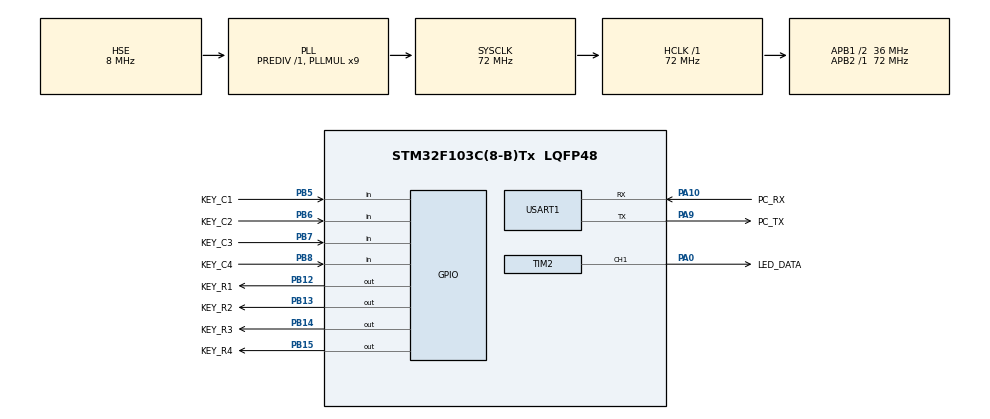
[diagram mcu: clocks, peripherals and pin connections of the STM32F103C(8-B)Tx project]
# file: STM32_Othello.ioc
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Dma.Request0=TIM2_CH1
Dma.TIM2_CH1.0.Direction=DMA_MEMORY_TO_PERIPH
Dma.TIM2_CH1.0.Instance=DMA1_Channel5
Dma.TIM2_CH1.0.MemDataAlignment=DMA_MDATAALIGN_HALFWORD
Dma.TIM2_CH1.0.MemInc=DMA_MINC_ENABLE
Dma.TIM2_CH1.0.Mode=DMA_NORMAL
Dma.TIM2_CH1.0.PeriphDataAlignment=DMA_PDATAALIGN_HALFWORD
Dma.TIM2_CH1.0.PeriphInc=DMA_PINC_DISABLE
Dma.TIM2_CH1.0.Priority=DMA_PRIORITY_LOW
Mcu.Family=STM32F1
Mcu.Name=STM32F103C(8-B)Tx
Mcu.Package=LQFP48
NVIC.DMA1_Channel5_IRQn=true\:2\:0\:true\:false\:true\:false\:true\:true
NVIC.PriorityGroup=NVIC_PRIORITYGROUP_4
NVIC.TIM2_IRQn=true\:2\:0\:true\:false\:true\:true\:true\:true
NVIC.USART1_IRQn=true\:1\:0\:true\:false\:true\:true\:true\:true
PA0-WKUP.GPIO_Label=LED_DATA
PA0-WKUP.GPIO_Speed=GPIO_SPEED_FREQ_HIGH
PA0-WKUP.Signal=S_TIM2_CH1_ETR
PA10.GPIO_Label=PC_RX
PA10.Mode=Asynchronous
PA10.Signal=USART1_RX
PA13.Mode=Serial_Wire
PA13.Signal=SYS_JTMS-SWDIO
PA14.Mode=Serial_Wire
PA14.Signal=SYS_JTCK-SWCLK
PA9.GPIO_Label=PC_TX
PA9.Mode=Asynchronous
PA9.Signal=USART1_TX
PB12.GPIO_Label=KEY_R1
PB12.GPIO_PuPd=GPIO_NOPULL
PB12.PinState=GPIO_PIN_SET
PB12.Signal=GPIO_Output
PB13.GPIO_Label=KEY_R2
PB13.GPIO_PuPd=GPIO_NOPULL
PB13.PinState=GPIO_PIN_SET
PB13.Signal=GPIO_Output
PB14.GPIO_Label=KEY_R3
PB14.GPIO_PuPd=GPIO_NOPULL
PB14.PinState=GPIO_PIN_SET
PB14.Signal=GPIO_Output
PB15.GPIO_Label=KEY_R4
PB15.GPIO_PuPd=GPIO_NOPULL
PB15.PinState=GPIO_PIN_SET
PB15.Signal=GPIO_Output
PB5.GPIO_Label=KEY_C1
PB5.GPIO_PuPd=GPIO_PULLUP
PB5.Signal=GPIO_Input
PB6.GPIO_Label=KEY_C2
PB6.GPIO_PuPd=GPIO_PULLUP
PB6.Signal=GPIO_Input
PB7.GPIO_Label=KEY_C3
PB7.GPIO_PuPd=GPIO_PULLUP
PB7.Signal=GPIO_Input
PB8.GPIO_Label=KEY_C4
PB8.GPIO_PuPd=GPIO_PULLUP
PB8.Signal=GPIO_Input
PD0-OSC_IN.Mode=HSE-External-Oscillator
PD0-OSC_IN.Signal=RCC_OSC_IN
PD1-OSC_OUT.Mode=HSE-External-Oscillator
PD1-OSC_OUT.Signal=RCC_OSC_OUT
ProjectManager.HeapSize=0x200
ProjectManager.StackSize=0x400
ProjectManager.TargetToolchain=STM32CubeIDE
RCC.AHBFreq_Value=72000000
RCC.APB1CLKDivider=RCC_HCLK_DIV2
RCC.APB1Freq_Value=36000000
RCC.APB1TimFreq_Value=72000000
RCC.APB2Freq_Value=72000000
RCC.APB2TimFreq_Value=72000000
RCC.HCLKFreq_Value=72000000
RCC.PLLMUL=RCC_PLL_MUL9
RCC.PLLSourceVirtual=RCC_PLLSOURCE_HSE
RCC.SYSCLKFreq_VALUE=72000000
RCC.SYSCLKSource=RCC_SYSCLKSOURCE_PLLCLK
RCC.USBFreq_Value=72000000
SH.S_TIM2_CH1_ETR.0=TIM2_CH1,PWM Generation1 CH1
TIM2.Channel-PWM\ Generation1\ CH1=TIM_CHANNEL_1
TIM2.Period=90-1
USART1.VirtualMode=VM_ASYNC
VP_TIM2_VS_ClockSourceINT.Mode=Internal
board=custom

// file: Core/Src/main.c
/* USER CODE BEGIN Header */
/**
  ******************************************************************************
  * @file           : main.c
  * @brief          : Main program body
  ******************************************************************************
  * @attention
  *
  * Copyright (c) 2025 STMicroelectronics.
  * All rights reserved.
  *
  * This software is licensed under terms that can be found in the LICENSE file
  * in the root directory of this software component.
  * If no LICENSE file comes with this software, it is provided AS-IS.
  *
  ******************************************************************************
  */
/* USER CODE END Header */
#include "main.h"

/* USER CODE BEGIN Includes */
#include <string.h>
#include "ws2812b_driver.h"
#include "keypad_driver.h"
#include "keypad_mapping.h"
#include "uart_protocol.h"
#include "othello_engine.h"
#include "game_control.h"
#include "challenge_mode.h"
#include "led_text.h"
#include "debug_print.h"
/* USER CODE END Includes */

TIM_HandleTypeDef htim2;
DMA_HandleTypeDef hdma_tim2_ch1;

UART_HandleTypeDef huart1;

/* USER CODE BEGIN PV */
/* Game state variables */
static GameState_t game_state;
static GameStats_t game_stats;
static bool game_initialized = false;
static uint32_t game_session_id = 0;  // Game session ID, incremented on each new game

/* Cursor control variables */
static uint8_t cursor_row = 3;          // Cursor row position (initial: board center)
static uint8_t cursor_col = 3;          // Cursor column position (initial: board center)
static bool cursor_visible = true;      // Cursor visibility (for blinking)
static uint32_t cursor_blink_timer = 0; // Cursor blink timer

/* Game mode variables */
static Game_Mode_t current_game_mode = GAME_MODE_NORMAL;  // Current game mode
static bool is_displaying_result = false;  // Flag: displaying game result (prevent state updates)

/* Cheat mode overlay state (NEW) */
bool is_cheat_active = false;                              // Cheat mode overlay flag
static PieceType_t cheat_selected_color = PIECE_BLACK;     // Currently selected cheat color

/* Game end handling flag (set in interrupt context, processed in main loop) */
static volatile bool game_end_pending = false;
/* USER CODE END PV */

void SystemClock_Config(void);
static void MX_GPIO_Init(void);
static void MX_DMA_Init(void);
static void MX_TIM2_Init(void);
static void MX_USART1_UART_Init(void);
/* USER CODE BEGIN PFP */
static void Convert_GameState_to_Protocol(const GameState_t* game_state, Game_State_Data_t* protocol_state);
static Protocol_Status_t Send_GameState_Via_Protocol(const GameState_t* game_state);
void App_UpdateCursor(void);
void App_PrintGameHistory(void);
/* USER CODE END PFP */

/* USER CODE BEGIN 0 */
/**
 * @brief Convert GameState_t to Game_State_Data_t for protocol transmission
 * @param game_state Source game state
 * @param protocol_state Destination protocol state
 */
static void Convert_GameState_to_Protocol(const GameState_t* game_state, Game_State_Data_t* protocol_state)
{
  if (!game_state || !protocol_state) {
    return;
  }

  // Copy board state (convert from PieceType_t to uint8_t)
  for (int row = 0; row < 8; row++) {
    for (int col = 0; col < 8; col++) {
      protocol_state->board[row][col] = (uint8_t)game_state->board[row][col];
    }
  }

  protocol_state->current_player = (uint8_t)game_state->current_player;
  protocol_state->black_count = game_state->black_count;
  protocol_state->white_count = game_state->white_count;
  protocol_state->game_over = (game_state->status != GAME_STATUS_PLAYING) ? 1 : 0;
  protocol_state->move_count = game_state->move_count;
}

/**
 * @brief Send game state via protocol (wrapper function)
 * @param game_state Source game state
 * @return Protocol_Status_t Protocol status
 */
static Protocol_Status_t Send_GameState_Via_Protocol(const GameState_t* game_state)
{
  Game_State_Data_t protocol_state;
  Convert_GameState_to_Protocol(game_state, &protocol_state);
  return Protocol_SendGameState(&protocol_state);
}
/* USER CODE END 0 */

int main(void)
{

  /* MCU Configuration--------------------------------------------------------*/

  /* Reset of all peripherals, Initializes the Flash interface and the Systick. */
  HAL_Init();

  /* Configure the system clock */
  SystemClock_Config();

  /* Initialize all configured peripherals */
  MX_GPIO_Init();
  MX_DMA_Init();
  MX_TIM2_Init();
  MX_USART1_UART_Init();
  /* USER CODE BEGIN 2 */
  /* IMPORTANT: Debug output must be AFTER USART1 initialization */
  HAL_Delay(100);  // Small delay to allow UART to stabilize

  DEBUG_PRINT_BANNER();
  DEBUG_INFO("[INIT] HAL Initialized\r\n");
  DEBUG_INFO("[INIT] System Clock Configured\r\n");
  DEBUG_INFO("[INIT] GPIO Initialized\r\n");
  DEBUG_INFO("[INIT] DMA Initialized\r\n");
  DEBUG_INFO("[INIT] TIM2 Initialized\r\n");
  DEBUG_INFO("[INIT] USART1 Initialized\r\n");

  /* Enable DWT counter for microsecond delays */
  CoreDebug->DEMCR |= CoreDebug_DEMCR_TRCENA_Msk;
  DWT->CTRL |= DWT_CTRL_CYCCNTENA_Msk;

  /* Initialize WS2812B driver */
  if (WS2812B_Init() != WS2812B_OK) {
    DEBUG_ERROR("[INIT] WS2812B Driver...FAILED\r\n");
    Error_Handler(); /* WS2812B initialization failed */
  }
  DEBUG_INFO("[INIT] WS2812B Driver...OK\r\n");

  /* Initialize Keypad driver */
  Keypad_Status_t keypad_status = Keypad_Init();
  if (keypad_status != KEYPAD_OK) {
    DEBUG_ERROR("[INIT] Keypad Driver...FAILED (status=%d)\r\n", keypad_status);
    Error_Handler(); /* Keypad initialization failed */
  }
  DEBUG_INFO("[INIT] Keypad Driver...OK\r\n");

  /* Test keypad quick check (disabled when DEBUG is off) */
  #if ENABLE_DEBUG
  bool any_key = Keypad_Quick_Check();
  DEBUG_INFO("[INIT] Keypad Quick Check: %s\r\n", any_key ? "Keys detected" : "No keys");
  #else
  (void)Keypad_Quick_Check();  /* Run check but ignore result when debug disabled */
  #endif

  /* Initialize UART Protocol (USART1 for PC communication) */
  if (Protocol_Init() != PROTOCOL_OK) {
    /* Protocol initialization failed - indicate with LED */
    /* Flash all LEDs red as error indicator */
    for (uint8_t i = 0; i < 8; i++) {
      for (uint8_t j = 0; j < 8; j++) {
        WS2812B_SetPixel(i, j, WS2812B_COLOR_RED);
      }
    }
    WS2812B_Update();
    Error_Handler();
  }

  /* Protocol initialized successfully - send initial heartbeat */
  HAL_Delay(100);  /* Wait for UART to stabilize */
  Protocol_SendHeartbeat();

  /* Register keypad event callback */
  Keypad_Register_Callback(Keypad_Key_Event_Handler);

  /* Register protocol command callback */
  Protocol_RegisterCallback(Protocol_Command_Handler);

  /* Initialize game engine */
  if (Othello_Init() != OTHELLO_OK) {
    DEBUG_ERROR("[INIT] Othello Engine...FAILED\r\n");
    Error_Handler(); /* Game engine initialization failed */
  }
  DEBUG_INFO("[INIT] Othello Engine...OK\r\n");

  /* Application-specific initialization */
  App_Init();
  DEBUG_INFO("[INIT] Application...OK\r\n");

  DEBUG_INFO("[BOOT] System Ready!\r\n");
  /* USER CODE END 2 */

  /* Infinite loop */
  while (1)
  {

    /* USER CODE BEGIN 3 */
    /* Main application loop */
    App_Main_Loop();

    /* Keypad scanning (if not using interrupt-driven mode) */
    Keypad_Scan_Task();

    /* Update cursor blinking */
    App_UpdateCursor();

    /* Protocol maintenance tasks (heartbeat & timeout handling) */
    Protocol_Task();

    /* Small delay to prevent excessive CPU usage */
    HAL_Delay(1);
  }
  /* USER CODE END 3 */
}

void SystemClock_Config(void)
{
  RCC_OscInitTypeDef RCC_OscInitStruct = {0};
  RCC_ClkInitTypeDef RCC_ClkInitStruct = {0};

  /** Initializes the RCC Oscillators according to the specified parameters
  * in the RCC_OscInitTypeDef structure.
  */
  RCC_OscInitStruct.OscillatorType = RCC_OSCILLATORTYPE_HSE;
  RCC_OscInitStruct.HSEState = RCC_HSE_ON;
  RCC_OscInitStruct.HSEPredivValue = RCC_HSE_PREDIV_DIV1;
  RCC_OscInitStruct.HSIState = RCC_HSI_ON;
  RCC_OscInitStruct.PLL.PLLState = RCC_PLL_ON;
  RCC_OscInitStruct.PLL.PLLSource = RCC_PLLSOURCE_HSE;
  RCC_OscInitStruct.PLL.PLLMUL = RCC_PLL_MUL9;
  if (HAL_RCC_OscConfig(&RCC_OscInitStruct) != HAL_OK)
  {
    Error_Handler();
  }

  /** Initializes the CPU, AHB and APB buses clocks
  */
  RCC_ClkInitStruct.ClockType = RCC_CLOCKTYPE_HCLK|RCC_CLOCKTYPE_SYSCLK
                              |RCC_CLOCKTYPE_PCLK1|RCC_CLOCKTYPE_PCLK2;
  RCC_ClkInitStruct.SYSCLKSource = RCC_SYSCLKSOURCE_PLLCLK;
  RCC_ClkInitStruct.AHBCLKDivider = RCC_SYSCLK_DIV1;
  RCC_ClkInitStruct.APB1CLKDivider = RCC_HCLK_DIV2;
  RCC_ClkInitStruct.APB2CLKDivider = RCC_HCLK_DIV1;

  if (HAL_RCC_ClockConfig(&RCC_ClkInitStruct, FLASH_LATENCY_2) != HAL_OK)
  {
    Error_Handler();
  }
}

static void MX_TIM2_Init(void)
{

  TIM_ClockConfigTypeDef sClockSourceConfig = {0};
  TIM_MasterConfigTypeDef sMasterConfig = {0};
  TIM_OC_InitTypeDef sConfigOC = {0};

  htim2.Instance = TIM2;
  htim2.Init.Prescaler = 0;
  htim2.Init.CounterMode = TIM_COUNTERMODE_UP;
  htim2.Init.Period = 90-1;
  htim2.Init.ClockDivision = TIM_CLOCKDIVISION_DIV1;
  htim2.Init.AutoReloadPreload = TIM_AUTORELOAD_PRELOAD_DISABLE;
  if (HAL_TIM_Base_Init(&htim2) != HAL_OK)
  {
    Error_Handler();
  }
  sClockSourceConfig.ClockSource = TIM_CLOCKSOURCE_INTERNAL;
  if (HAL_TIM_ConfigClockSource(&htim2, &sClockSourceConfig) != HAL_OK)
  {
    Error_Handler();
  }
  if (HAL_TIM_PWM_Init(&htim2) != HAL_OK)
  {
    Error_Handler();
  }
  sMasterConfig.MasterOutputTrigger = TIM_TRGO_RESET;
  sMasterConfig.MasterSlaveMode = TIM_MASTERSLAVEMODE_DISABLE;
  if (HAL_TIMEx_MasterConfigSynchronization(&htim2, &sMasterConfig) != HAL_OK)
  {
    Error_Handler();
  }
  sConfigOC.OCMode = TIM_OCMODE_PWM1;
  sConfigOC.Pulse = 0;
  sConfigOC.OCPolarity = TIM_OCPOLARITY_HIGH;
  sConfigOC.OCFastMode = TIM_OCFAST_DISABLE;
  if (HAL_TIM_PWM_ConfigChannel(&htim2, &sConfigOC, TIM_CHANNEL_1) != HAL_OK)
  {
    Error_Handler();
  }
  HAL_TIM_MspPostInit(&htim2);

}

static void MX_USART1_UART_Init(void)
{

  huart1.Instance = USART1;
  huart1.Init.BaudRate = 115200;
  huart1.Init.WordLength = UART_WORDLENGTH_8B;
  huart1.Init.StopBits = UART_STOPBITS_1;
  huart1.Init.Parity = UART_PARITY_NONE;
  huart1.Init.Mode = UART_MODE_TX_RX;
  huart1.Init.HwFlowCtl = UART_HWCONTROL_NONE;
  huart1.Init.OverSampling = UART_OVERSAMPLING_16;
  if (HAL_UART_Init(&huart1) != HAL_OK)
  {
    Error_Handler();
  }

}

static void MX_DMA_Init(void)
{

  /* DMA controller clock enable */
  __HAL_RCC_DMA1_CLK_ENABLE();

  /* DMA interrupt init */
  /* DMA1_Channel5_IRQn interrupt configuration */
  HAL_NVIC_SetPriority(DMA1_Channel5_IRQn, 2, 0);
  HAL_NVIC_EnableIRQ(DMA1_Channel5_IRQn);

}

static void MX_GPIO_Init(void)
{
  GPIO_InitTypeDef GPIO_InitStruct = {0};

  /* GPIO Ports Clock Enable */
  __HAL_RCC_GPIOD_CLK_ENABLE();
  __HAL_RCC_GPIOA_CLK_ENABLE();
  __HAL_RCC_GPIOB_CLK_ENABLE();

  /*Configure GPIO pin Output Level */
  HAL_GPIO_WritePin(GPIOB, KEY_R1_Pin|KEY_R2_Pin|KEY_R3_Pin|KEY_R4_Pin, GPIO_PIN_SET);

  /*Configure GPIO pins : KEY_R1_Pin KEY_R2_Pin KEY_R3_Pin KEY_R4_Pin */
  GPIO_InitStruct.Pin = KEY_R1_Pin|KEY_R2_Pin|KEY_R3_Pin|KEY_R4_Pin;
  GPIO_InitStruct.Mode = GPIO_MODE_OUTPUT_PP;
  GPIO_InitStruct.Pull = GPIO_NOPULL;
  GPIO_InitStruct.Speed = GPIO_SPEED_FREQ_LOW;
  HAL_GPIO_Init(GPIOB, &GPIO_InitStruct);

  /*Configure GPIO pins : KEY_C1_Pin KEY_C2_Pin KEY_C3_Pin KEY_C4_Pin */
  GPIO_InitStruct.Pin = KEY_C1_Pin|KEY_C2_Pin|KEY_C3_Pin|KEY_C4_Pin;
  GPIO_InitStruct.Mode = GPIO_MODE_INPUT;
  GPIO_InitStruct.Pull = GPIO_PULLUP;
  HAL_GPIO_Init(GPIOB, &GPIO_InitStruct);

}

/* USER CODE BEGIN 4 */
/**
 * @brief DMA transfer complete callback for WS2812B
 * @param hdma: DMA handle
 * @retval None
 */
void HAL_TIM_PWM_PulseFinishedCallback(TIM_HandleTypeDef *htim)
{
  /* Check if this is TIM2 channel 1 */
  if (htim->Instance == TIM2) {
    WS2812B_DMA_Complete_Callback(&hdma_tim2_ch1);
  }
}

/**
 * @brief WS2812B DMA Complete IRQ Handler (called from main.h)
 * @retval None
 */
void WS2812B_DMA_Complete_IRQ_Handler(void)
{
  WS2812B_DMA_Complete_Callback(&hdma_tim2_ch1);
}

/**
 * @brief Application initialization function
 * @retval None
 */
void App_Init(void)
{
  /* Initialize game statistics */
  memset(&game_stats, 0, sizeof(GameStats_t));

  /* Initialize game control module */
  if (Game_Control_Init() != GAME_CTRL_OK) {
    DEBUG_ERROR("[INIT] Game Control...FAILED\r\n");
    Error_Handler();
  }
  DEBUG_INFO("[INIT] Game Control...OK\r\n");

  /* Initialize challenge mode module */
  if (Challenge_Init() != CHALLENGE_OK) {
    DEBUG_ERROR("[INIT] Challenge Mode...FAILED\r\n");
    Error_Handler();
  }
  DEBUG_INFO("[INIT] Challenge Mode...OK\r\n");

  /* Initialize LED text display module */
  if (LED_Text_Init() != LED_TEXT_OK) {
    DEBUG_ERROR("[INIT] LED Text...FAILED\r\n");
    Error_Handler();
  }
  DEBUG_INFO("[INIT] LED Text...OK\r\n");

  /* Start new game */
  if (Othello_NewGame(&game_state) == OTHELLO_OK) {
    game_initialized = true;
    game_session_id++;  // Increment session ID for new game
  }

  /* Initialize LED display */
  WS2812B_Clear();

  /* Display initial game board */
  App_DisplayGameBoard();
}

/**
 * @brief Main application loop function
 * @retval None
 */
void App_Main_Loop(void)
{
  /* === Priority 1: Process pending game end (set from interrupt context) === */
  if (game_end_pending) {
    game_end_pending = false;  // Clear flag
    DEBUG_INFO("[APP_LOOP] Processing pending game end from interrupt...\r\n");
    App_HandleGameOver();  // Safe to call in main loop context
    DEBUG_INFO("[APP_LOOP] Game end processing completed\r\n");
    return;  // Process only game end in this iteration
  }

  /* Process keypad events */
  Key_t key_event = Keypad_GetKey();
  if (key_event.state != KEY_RELEASED) {
    /* Key event occurred, process it */
    App_ProcessKeyEvent(&key_event);
  }

  /* Update game board display */
  App_UpdateGameDisplay();

  /* Check for game over conditions (local game end) */
  if (game_initialized && Othello_IsGameOver(&game_state)) {
    App_HandleGameOver();
  }
}

/**
 * @brief Update cursor display with blinking effect
 * @retval None
 */
void App_UpdateCursor(void)
{
  if (!game_initialized) {
    return;
  }

  uint32_t current_time = HAL_GetTick();

  // Toggle cursor visibility every 500ms
  if (current_time - cursor_blink_timer >= 500) {
    cursor_blink_timer = current_time;
    cursor_visible = !cursor_visible;

    // Redraw board to update cursor
    App_DisplayGameBoard();
  }
}

/**
 * @brief Display game board on LED matrix
 * @retval None
 */
void App_DisplayGameBoard(void)
{
  if (!game_initialized) {
    return;
  }

  WS2812B_Clear();

  /* Display game pieces on LED matrix */
  for (uint8_t row = 0; row < 8; row++) {
    for (uint8_t col = 0; col < 8; col++) {
      PieceType_t piece = Othello_GetPiece(&game_state, row, col);

      if (piece == PIECE_BLACK) {
        WS2812B_SetPixel(row, col, WS2812B_COLOR_ORANGE);  // Black piece (Orange for visibility)
      } else if (piece == PIECE_WHITE) {
        WS2812B_SetPixel(row, col, WS2812B_COLOR_WHITE);  // White piece
      }
      /* Empty positions remain off */
    }
  }

  /* Display cursor (green blinking) */
  if (cursor_visible) {
    PieceType_t cursor_piece = Othello_GetPiece(&game_state, cursor_row, cursor_col);
    if (cursor_piece == PIECE_EMPTY) {
      // Empty position: show green cursor
      WS2812B_SetPixel(cursor_row, cursor_col, WS2812B_COLOR_GREEN);
    }
    // If there's a piece at cursor position, don't show cursor (or could use dimmed green)
  }

  WS2812B_Update();
}

/**
 * @brief Process key event for game controls
 * @param key_event Pointer to key event structure
 * @retval None
 */
void App_ProcessKeyEvent(Key_t* key_event)
{
  if (!game_initialized || !key_event) {
    return;
  }

  Keypad_LogicalKey_t logical_key = Keypad_PhysicalToLogical(key_event->row, key_event->col);

  DEBUG_INFO("[APP] ProcessKey: R%d C%d Logical=%d State=%d\r\n",
             key_event->row, key_event->col, logical_key, key_event->state);

  /* Handle key press */
  if (key_event->state == KEY_PRESSED) {
    // First, try to handle as game control key
    if (Game_Control_HandleKey(logical_key, &game_state)) {
      DEBUG_INFO("[APP] Game control key handled: %d\r\n", logical_key);

      // Increment session ID for new game operations (START or RESET)
      if (logical_key == GAME_CTRL_KEY_START || logical_key == GAME_CTRL_KEY_RESET) {
        game_session_id++;
        DEBUG_INFO("[APP] New game session started, session_id=%lu\r\n", game_session_id);
      }

      App_DisplayGameBoard();
      Send_GameState_Via_Protocol(&game_state);
      return;  // Key was handled by game control
    }

    // Handle 'C' key: Toggle cheat mode overlay
    if (logical_key == KEYPAD_KEY_C) {
      is_cheat_active = !is_cheat_active;

      if (is_cheat_active) {
        // Enter cheat mode (overlay on current game mode)
        DEBUG_INFO("[CHEAT] Enabled cheat overlay on mode %d\r\n", current_game_mode);

        // Default to black piece
        cheat_selected_color = PIECE_BLACK;

      } else {
        // Exit cheat mode (restore game logic)
        DEBUG_INFO("[CHEAT] Disabled cheat overlay, returning to mode %d\r\n", current_game_mode);
      }

      App_DisplayGameBoard();

      // Notify PC about cheat state change
      Cheat_Toggle_Data_t cheat_data = {
        .enable = is_cheat_active ? 1 : 0,
        .selected_color = cheat_selected_color
      };
      Protocol_SendPacket(CMD_CHEAT_TOGGLE, (uint8_t*)&cheat_data, sizeof(cheat_data));

      return;  // Don't process as game move
    }

    // Handle 'A' key: Select BLACK piece (only in cheat mode)
    if (logical_key == KEYPAD_KEY_A) {
      if (is_cheat_active) {
        cheat_selected_color = PIECE_BLACK;
        DEBUG_INFO("[CHEAT] Selected BLACK piece\r\n");

        // Visual feedback: Flash cursor in black
        RGB_Color_t gray_color = {128, 128, 128};  // Gray for visibility
        WS2812B_SetPixel(cursor_row, cursor_col, gray_color);
        WS2812B_Update();
        HAL_Delay(200);

        App_DisplayGameBoard();  // Restore board

        // Notify PC
        Cheat_Toggle_Data_t cheat_data = {
          .enable = 1,
          .selected_color = PIECE_BLACK
        };
        Protocol_SendPacket(CMD_CHEAT_TOGGLE, (uint8_t*)&cheat_data, sizeof(cheat_data));

        return;
      }
      // If not in cheat mode, ignore 'A' key
      DEBUG_INFO("[APP] 'A' key pressed but cheat mode not active\r\n");
      return;
    }

    // Handle 'B' key: Select WHITE piece (only in cheat mode)
    if (logical_key == KEYPAD_KEY_B) {
      if (is_cheat_active) {
        cheat_selected_color = PIECE_WHITE;
        DEBUG_INFO("[CHEAT] Selected WHITE piece\r\n");

        // Visual feedback: Flash cursor in white
        RGB_Color_t white_color = {255, 255, 255};
        WS2812B_SetPixel(cursor_row, cursor_col, white_color);
        WS2812B_Update();
        HAL_Delay(200);

        App_DisplayGameBoard();  // Restore board

        // Notify PC
        Cheat_Toggle_Data_t cheat_data = {
          .enable = 1,
          .selected_color = PIECE_WHITE
        };
        Protocol_SendPacket(CMD_CHEAT_TOGGLE, (uint8_t*)&cheat_data, sizeof(cheat_data));

        return;
      }
      // If not in cheat mode, ignore 'B' key
      DEBUG_INFO("[APP] 'B' key pressed but cheat mode not active\r\n");
      return;
    }

    // Check if game is in playing state before processing game keys
    if (!GAME_CTRL_IS_PLAYING(Game_Control_GetContext())) {
      DEBUG_INFO("[APP] Game not in PLAYING state, ignoring key\r\n");
      return;
    }

    switch (logical_key) {
      // === Core Function Keys ===

      case KEYPAD_KEY_1: // Start Game (handled by game control above)
        // This case is now handled by Game_Control_HandleKey
        break;

      case KEYPAD_KEY_2: // Move Up
        if (cursor_row > 0) {
          cursor_row--;
          DEBUG_INFO("[APP] Cursor UP: (%d,%d)\r\n", cursor_row, cursor_col);
          cursor_visible = true;  // Show cursor immediately when moving
          cursor_blink_timer = HAL_GetTick();  // Reset blink timer
          App_DisplayGameBoard();
        } else {
          DEBUG_INFO("[APP] Cursor at top edge\r\n");
        }
        break;

      case KEYPAD_KEY_4: // Move Left
        if (cursor_col > 0) {
          cursor_col--;
          DEBUG_INFO("[APP] Cursor LEFT: (%d,%d)\r\n", cursor_row, cursor_col);
          cursor_visible = true;
          cursor_blink_timer = HAL_GetTick();
          App_DisplayGameBoard();
        } else {
          DEBUG_INFO("[APP] Cursor at left edge\r\n");
        }
        break;

      case KEYPAD_KEY_5: // Place Piece at Cursor
        DEBUG_INFO("[APP] Place piece at cursor (%d,%d)\r\n", cursor_row, cursor_col);

        // ========== Cheat mode: Place and flip pieces ==========
        if (is_cheat_active) {
          // Use Othello_PlaceAndFlip() to place piece AND flip opponents
          uint8_t flipped = Othello_PlaceAndFlip(&game_state, cursor_row, cursor_col, cheat_selected_color);

          DEBUG_INFO("[CHEAT] Placed %d at (%d,%d), flipped %d pieces\r\n",
                     cheat_selected_color, cursor_row, cursor_col, flipped);

          // Update display
          App_DisplayGameBoard();

          // Send updated state to PC
          Send_GameState_Via_Protocol(&game_state);

          break;  // Skip normal move logic
        }
        // ========== Cheat mode logic end ==========

        // Normal move logic
        if (Othello_IsValidMove(&game_state, cursor_row, cursor_col, game_state.current_player)) {
          uint8_t flipped = Othello_MakeMove(&game_state, cursor_row, cursor_col, game_state.current_player);
          if (flipped > 0) {
            DEBUG_INFO("[APP] Move SUCCESS: flipped %d pieces\r\n", flipped);
            App_DisplayGameBoard();
            Send_GameState_Via_Protocol(&game_state);

            // Check if game is over
            if (game_state.status != GAME_STATUS_PLAYING) {
              DEBUG_INFO("[APP] Game Over! Winner: %d\r\n",
                        Othello_GetWinner(&game_state));
              // Print game history to debug console
              App_PrintGameHistory();
              // PC will show AI analysis dialog
            }
          }
        } else {
          DEBUG_INFO("[APP] Invalid move at (%d,%d)\r\n", cursor_row, cursor_col);
          // Invalid move - red flash
          WS2812B_SetPixel(cursor_row, cursor_col, WS2812B_COLOR_RED);
          WS2812B_Update();
          HAL_Delay(200);
          App_DisplayGameBoard();
        }
        break;

      case KEYPAD_KEY_6: // Move Right
        if (cursor_col < 7) {
          cursor_col++;
          DEBUG_INFO("[APP] Cursor RIGHT: (%d,%d)\r\n", cursor_row, cursor_col);
          cursor_visible = true;
          cursor_blink_timer = HAL_GetTick();
          App_DisplayGameBoard();
        } else {
          DEBUG_INFO("[APP] Cursor at right edge\r\n");
        }
        break;

      case KEYPAD_KEY_8: // Move Down
        if (cursor_row < 7) {
          cursor_row++;
          DEBUG_INFO("[APP] Cursor DOWN: (%d,%d)\r\n", cursor_row, cursor_col);
          cursor_visible = true;
          cursor_blink_timer = HAL_GetTick();
          App_DisplayGameBoard();
        } else {
          DEBUG_INFO("[APP] Cursor at bottom edge\r\n");
        }
        break;

      case KEYPAD_KEY_0: // Reset Game
        DEBUG_INFO("[APP] Reset Game\r\n");
        Othello_NewGame(&game_state);
        cursor_row = 3;
        cursor_col = 3;
        cursor_visible = true;
        App_DisplayGameBoard();
        break;

      case KEYPAD_KEY_9: // Send Board State to PC
        DEBUG_INFO("[APP] Send board state to PC\r\n");
        Send_GameState_Via_Protocol(&game_state);
        break;

      // === Reserved Function Keys ===

      case KEYPAD_KEY_3:
        DEBUG_INFO("[APP] Key 3 - Reserved\r\n");
        break;

      case KEYPAD_KEY_7:
        DEBUG_INFO("[APP] Key 7 - Reserved\r\n");
        break;

      case KEYPAD_KEY_STAR:
        DEBUG_INFO("[APP] Key * - Reserved (Menu)\r\n");
        break;

      case KEYPAD_KEY_HASH:
        DEBUG_INFO("[APP] Key # - Reserved (Confirm)\r\n");
        break;

      case KEYPAD_KEY_A:
        DEBUG_INFO("[APP] Key A - Reserved\r\n");
        break;

      case KEYPAD_KEY_B:
        DEBUG_INFO("[APP] Key B - Reserved\r\n");
        break;

      case KEYPAD_KEY_C:
        DEBUG_INFO("[APP] Key C - Reserved\r\n");
        break;

      case KEYPAD_KEY_D:
        DEBUG_INFO("[APP] Key D - Reserved\r\n");
        break;

      default:
        DEBUG_INFO("[APP] Unknown key: %d\r\n", logical_key);
        break;
    }
  }
}

/**
 * @brief Print game history to debug console
 * @retval None
 * @note Since full move history is not stored, we print summary statistics
 */
void App_PrintGameHistory(void)
{
  if (!game_initialized) {
    return;
  }

  DEBUG_INFO("\r\n========== Game History ==========\r\n");
  DEBUG_INFO("Total moves: %lu\r\n", game_state.move_count);
  DEBUG_INFO("Black count: %d, White count: %d\r\n",
             game_state.black_count, game_state.white_count);
  DEBUG_INFO("Game status: %d\r\n", game_state.status);

  if (game_state.move_count > 0) {
    DEBUG_INFO("\r\nLast move:\r\n");
    DEBUG_INFO("  Player: %d, Position: (%d,%d), Flipped: %d\r\n",
               game_state.last_move.player,
               game_state.last_move.row,
               game_state.last_move.col,
               game_state.last_move.flipped_count);
  }

  if (game_state.status != GAME_STATUS_PLAYING) {
    PieceType_t winner = Othello_GetWinner(&game_state);
    DEBUG_INFO("\r\nGame Result:\r\n");
    if (winner == PIECE_BLACK) {
      DEBUG_INFO("  Winner: BLACK (Orange)\r\n");
    } else if (winner == PIECE_WHITE) {
      DEBUG_INFO("  Winner: WHITE\r\n");
    } else {
      DEBUG_INFO("  Result: DRAW\r\n");
    }
  }

  DEBUG_INFO("==================================\r\n\r\n");
}

/**
 * @brief Update game display (animations, status indicators)
 * @retval None
 */
void App_UpdateGameDisplay(void)
{
  static uint32_t last_update = 0;
  uint32_t current_time = HAL_GetTick();

  /* Update display every 100ms */
  if (current_time - last_update >= 100) {
    last_update = current_time;

    /* Could add animations here, like cursor blinking */
    /* For now, just ensure board is current */
    if (game_initialized) {
      App_DisplayGameBoard();
    }
  }
}

/**
 * @brief Handle game over state
 * @retval None
 */
void App_HandleGameOver(void)
{
  static uint32_t last_handled_session_id = 0;

  // Check if this game session has already been handled (using session_id as version identifier)
  if (game_session_id == last_handled_session_id) {
    DEBUG_INFO("[GAME_OVER] Already handled session_id=%lu, skipping\r\n", game_session_id);
    return;  // This game session has already been handled
  }

  // Record current session ID
  last_handled_session_id = game_session_id;

  DEBUG_INFO("\r\n========== GAME OVER HANDLER START ==========\r\n");
  DEBUG_INFO("[GAME_OVER] Handling game over, move_count=%lu\r\n", game_state.move_count);
  DEBUG_INFO("[GAME_OVER] current_game_mode=%d (CHALLENGE=%d)\r\n",
             current_game_mode, GAME_MODE_CHALLENGE);
  DEBUG_INFO("[GAME_OVER] Winner: BLACK=%d WHITE=%d status=%d\r\n",
             game_state.black_count, game_state.white_count, game_state.status);

  // 设置正在显示结果的标志
  is_displaying_result = true;
  DEBUG_INFO("[GAME_OVER] Set is_displaying_result = TRUE\r\n");

  /* Update statistics */
  Othello_UpdateStats(&game_stats, &game_state);

  /* === 显示游戏结果文字（所有模式通用） === */
  PieceType_t winner = Othello_GetWinner(&game_state);

  DEBUG_INFO("[GAME_OVER] Displaying game result: Winner=%d (BLACK=%d, WHITE=%d)\r\n",
             winner, PIECE_BLACK, PIECE_WHITE);

  if (winner == PIECE_BLACK) {
    // Player (BLACK) wins - show WIN
    DEBUG_INFO("[GAME_OVER] Displaying 'WIN'...\r\n");
    LED_Text_Status_t status = LED_Text_Display_Sequential("WIN", WS2812B_COLOR_GREEN, 1000);
    if (status != LED_TEXT_OK) {
      DEBUG_INFO("[GAME_OVER] WARNING: 'WIN' display failed, status=%d\r\n", status);
    } else {
      DEBUG_INFO("[GAME_OVER] 'WIN' display completed\r\n");
    }
  } else if (winner == PIECE_WHITE) {
    // AI/Opponent (WHITE) wins - show LOSE
    DEBUG_INFO("[GAME_OVER] Displaying 'LOSE'...\r\n");
    LED_Text_Status_t status = LED_Text_Display_Sequential("LOSE", WS2812B_COLOR_RED, 1000);
    if (status != LED_TEXT_OK) {
      DEBUG_INFO("[GAME_OVER] WARNING: 'LOSE' display failed, status=%d\r\n", status);
    } else {
      DEBUG_INFO("[GAME_OVER] 'LOSE' display completed\r\n");
    }
  } else {
    // Draw game - show DRAW
    DEBUG_INFO("[GAME_OVER] Displaying 'DRAW'...\r\n");
    LED_Text_Status_t status = LED_Text_Display_Sequential("DRAW", WS2812B_COLOR_YELLOW, 1000);
    if (status != LED_TEXT_OK) {
      DEBUG_INFO("[GAME_OVER] WARNING: 'DRAW' display failed, status=%d\r\n", status);
    } else {
      DEBUG_INFO("[GAME_OVER] 'DRAW' display completed\r\n");
    }
  }

  // Clear display after text sequence
  DEBUG_INFO("[GAME_OVER] Clearing display...\r\n");
  WS2812B_Clear();
  WS2812B_Update();
  HAL_Delay(500);  // Brief pause before final board display

  /* Process challenge mode if active */
  if (current_game_mode == GAME_MODE_CHALLENGE) {
    DEBUG_INFO("[CHALLENGE] Processing challenge mode results...\r\n");

    /* === Process overall challenge status === */
    Challenge_Status_t challenge_status = Challenge_ProcessGameResult(&game_state);

    DEBUG_INFO("[CHALLENGE] Challenge status after processing: %d\r\n", challenge_status);

    if (challenge_status == CHALLENGE_WIN) {
      DEBUG_INFO("[CHALLENGE] WIN condition met! Total score: %d\r\n",
                 Challenge_GetTotalScore());
      DEBUG_INFO("[CHALLENGE] Displaying 'WIN' animation (3 seconds)...\r\n");
      // LED text display is handled by Challenge_ProcessGameResult
      HAL_Delay(3000);  // Display WIN for 3 seconds
      DEBUG_INFO("[CHALLENGE] WIN animation completed\r\n");
    } else if (challenge_status == CHALLENGE_GAME_OVER) {
      DEBUG_INFO("[CHALLENGE] GAME OVER! Consecutive losses: %d\r\n",
                 Challenge_GetConsecutiveLosses());
      DEBUG_INFO("[CHALLENGE] Displaying 'OVER' animation (3 seconds)...\r\n");
      // LED text display is handled by Challenge_ProcessGameResult
      HAL_Delay(3000);  // Display OVER for 3 seconds
      DEBUG_INFO("[CHALLENGE] OVER animation completed\r\n");
    } else {
      DEBUG_INFO("[CHALLENGE] Game %d completed. Total score: %d\r\n",
                 Challenge_GetGamesPlayed(), Challenge_GetTotalScore());
    }
  }

  /* Show winner on board */
  DEBUG_INFO("[GAME_OVER] Displaying final board state...\r\n");
  WS2812B_Clear();

  if (winner == PIECE_BLACK) {
    /* Display black wins - fill with black */
    WS2812B_Fill(WS2812B_COLOR_BLACK);
  } else if (winner == PIECE_WHITE) {
    /* Display white wins - fill with white */
    WS2812B_Fill(WS2812B_COLOR_WHITE);
  } else {
    /* Display draw - alternate black/white pattern */
    for (uint8_t row = 0; row < 8; row++) {
      for (uint8_t col = 0; col < 8; col++) {
        RGB_Color_t color = ((row + col) % 2 == 0) ? WS2812B_COLOR_BLACK : WS2812B_COLOR_WHITE;
        WS2812B_SetPixel(row, col, color);
      }
    }
  }

  WS2812B_Update();

  /* Send final game state */
  DEBUG_INFO("[GAME_OVER] Sending final game state to PC...\r\n");
  Send_GameState_Via_Protocol(&game_state);

  /* Show result for 5 seconds */
  DEBUG_INFO("[GAME_OVER] Displaying result for 5 seconds...\r\n");
  HAL_Delay(5000);

  // 清除正在显示结果的标志
  is_displaying_result = false;
  DEBUG_INFO("[GAME_OVER] Set is_displaying_result = FALSE\r\n");

  DEBUG_INFO("========== GAME OVER HANDLER END ==========\r\n\r\n");
}

/**
 * @brief Keypad key event callback handler
 * @param row: Key row position (0-3)
 * @param col: Key column position (0-3)
 * @param state: Key state (PRESSED, RELEASED, LONG_PRESSED)
 * @retval None
 */
void Keypad_Key_Event_Handler(uint8_t row, uint8_t col, KeyState_t state)
{
  /* This callback is called whenever a key state changes */
  /* Get logical key for more meaningful processing */
  Keypad_LogicalKey_t logical_key = Keypad_PhysicalToLogical(row, col);

  /* Debug log */
  DEBUG_INFO("[APP] KeyEvent: R%d C%d State=%d Logical=%d\r\n", row, col, state, logical_key);

  /* Send key event over UART protocol */
  Protocol_SendKeyEvent(row, col, (uint8_t)state, (uint8_t)logical_key);

  /* Demo: Simple LED feedback for key press */
  if (state == KEY_PRESSED) {
    /* Key just pressed - could add sound effect, LED flash, etc. */
    /* For now, just ensure immediate visual feedback */
    if (row < 8 && col < 8) {
      WS2812B_SetPixel(row, col, WS2812B_COLOR_GREEN);
      WS2812B_Update();
    }
  } else if (state == KEY_RELEASED) {
    /* Key released - restore normal display */
    /* This will be handled in App_Main_Loop for now */
  }

  /* Future: Add game logic event processing here */
  /* Example:
   * switch (logical_key) {
   *   case KEYPAD_KEY_5: // Select key
   *     if (state == KEY_PRESSED) {
   *       Game_ProcessMove();
   *     }
   *     break;
   *   case KEYPAD_KEY_STAR: // Menu key
   *     if (state == KEY_PRESSED) {
   *       Game_EnterMenu();
   *     }
   *     break;
   *   // ... other keys
   * }
   */
}

/**
 * @brief UART protocol command handler
 * @param cmd Received command
 * @param data Command data
 * @param len Data length
 * @retval None
 */
void Protocol_Command_Handler(Protocol_Command_t cmd, uint8_t* data, uint8_t len)
{
  /* Handle incoming protocol commands */
  switch (cmd) {
    case CMD_MAKE_MOVE:
      if (len == sizeof(Move_Command_Data_t)) {
        Move_Command_Data_t* move = (Move_Command_Data_t*)data;
        if (Othello_IsValidMove(&game_state, move->row, move->col, game_state.current_player)) {
          uint8_t flipped = Othello_MakeMove(&game_state, move->row, move->col, game_state.current_player);
          if (flipped > 0) {
            App_DisplayGameBoard();  // Update display
            Protocol_SendAck(cmd, 0); // 0 = success
            // REMOVED: 避免旧状态覆盖上位机的新状态
            // Send_GameState_Via_Protocol(&game_state);
          } else {
            Protocol_SendAck(cmd, 2); // 2 = move failed
          }
        } else {
          Protocol_SendAck(cmd, 1); // 1 = invalid move
        }
      } else {
        Protocol_SendAck(cmd, 3); // 3 = invalid length
      }
      break;

    case CMD_GAME_CONFIG:
      /* Handle game configuration / new game command */
      Othello_NewGame(&game_state);  // Reset game state to initial
      game_session_id++;  // Increment session ID for new game
      App_DisplayGameBoard();  // Refresh display
      Protocol_SendAck(cmd, 0);  // Send success confirmation
      Send_GameState_Via_Protocol(&game_state);  // Send initial board state
      break;

    case CMD_SYSTEM_INFO:
      /* Send system information */
      Protocol_SendSystemInfo();
      break;

    case CMD_AI_REQUEST:
      /* Handle AI analysis request */
      /* Send current game state for analysis */
      Send_GameState_Via_Protocol(&game_state);
      Protocol_SendAck(cmd, 0);
      break;

    case CMD_LED_CONTROL:
      /* Handle LED control commands */
      if (len >= 4) { // row, col, r, g, b
        uint8_t row = data[0];
        uint8_t col = data[1];
        RGB_Color_t color = {data[2], data[3], len > 4 ? data[4] : 0};
        if (row < 8 && col < 8) {
          WS2812B_SetPixel(row, col, color);
          WS2812B_Update();
          Protocol_SendAck(cmd, 0);
        } else {
          Protocol_SendAck(cmd, 2); // Invalid coordinates
        }
      } else {
        Protocol_SendAck(cmd, 1); // Invalid length
      }
      break;

    case CMD_HEARTBEAT:
      /* Respond to heartbeat */
      Protocol_SendHeartbeat();
      break;

    case CMD_BOARD_STATE:
      /* Receive and update game state from PC (Sync direction: PC → STM32) */

      // ========== 防止显示期间被覆盖 ==========
      if (is_displaying_result) {
        // 拒绝在显示游戏结果期间更新状态
        Protocol_SendAck(cmd, 4);  // 4 = Busy/Rejected
        DEBUG_INFO("[SYNC] Refused state update: displaying game result\r\n");
        break;
      }

      // ========== 正常状态更新流程 ==========
      if (len == 72) {  // Game_State_Data_t = 72 bytes
        // ========== 解析上位机发来的完整状态 ==========

        // 1. 更新棋盘 (0-63字节)
        for (uint8_t i = 0; i < 64; i++) {
          uint8_t row = i / 8;
          uint8_t col = i % 8;
          game_state.board[row][col] = (PieceType_t)data[i];
        }

        // 2. 更新当前玩家 (64字节)
        game_state.current_player = (PieceType_t)data[64];

        // 3. 更新棋子计数 (65-66字节)
        game_state.black_count = data[65];
        game_state.white_count = data[66];

        // 4. 更新游戏结束标志 (67字节)
        bool game_just_ended = false;  // 标记游戏是否刚刚结束
        if (data[67] == 1) {
          // 根据分数设置状态
          if (game_state.black_count > game_state.white_count) {
            game_state.status = GAME_STATUS_BLACK_WIN;
          } else if (game_state.black_count < game_state.white_count) {
            game_state.status = GAME_STATUS_WHITE_WIN;
          } else {
            game_state.status = GAME_STATUS_DRAW;
          }
          game_just_ended = true;  // 标记游戏结束
        } else {
          game_state.status = GAME_STATUS_PLAYING;
        }

        // 5. 更新走法计数 (68-71字节, little-endian)
        game_state.move_count = data[68] | ((uint32_t)data[69] << 8) |
                               ((uint32_t)data[70] << 16) | ((uint32_t)data[71] << 24);

        // ========== 如果游戏刚结束，设置标志让主循环处理（避免中断阻塞） ==========
        if (game_just_ended) {
          DEBUG_INFO("[SYNC] Game ended from PC, status=%d, setting game_end_pending flag\r\n", game_state.status);
          game_end_pending = true;  // 只设置标志，不阻塞中断
          App_DisplayGameBoard();    // 快速更新棋盘显示
        } else {
          // 游戏进行中，只更新棋盘显示
          App_DisplayGameBoard();
        }

        // 发送确认
        Protocol_SendAck(cmd, 0);  // Success

        DEBUG_INFO("[SYNC] Game state updated from PC: move_count=%lu, "
                   "player=%d, black=%d, white=%d\r\n",
                   game_state.move_count, game_state.current_player,
                   game_state.black_count, game_state.white_count);
      } else {
        // 数据长度错误
        Protocol_SendAck(cmd, 1);  // Invalid length
        DEBUG_ERROR("[SYNC] Invalid data length: %d (expected 72)\r\n", len);
      }
      break;

    case CMD_GAME_CONTROL:
      /* Handle game control commands */
      if (len == sizeof(Game_Control_Data_t)) {
        Game_Control_Data_t* ctrl_data = (Game_Control_Data_t*)data;
        Game_Control_Status_t status = Game_Control_HandleAction(
            (Game_Control_Action_t)ctrl_data->action, &game_state);

        if (status == GAME_CTRL_OK) {
          App_DisplayGameBoard();  // Update display
          Protocol_SendAck(cmd, 0);  // Success
          Send_GameState_Via_Protocol(&game_state);  // Send updated state
        } else if (status == GAME_CTRL_INVALID_STATE) {
          Protocol_SendAck(cmd, 1);  // Invalid state for this action
        } else {
          Protocol_SendAck(cmd, 2);  // Other error
        }
      } else {
        Protocol_SendAck(cmd, 3);  // Invalid length
      }
      break;

    case CMD_MODE_SELECT:
      /* Handle game mode selection */
      if (len == sizeof(Mode_Select_Data_t)) {
        Mode_Select_Data_t* mode_data = (Mode_Select_Data_t*)data;
        current_game_mode = (Game_Mode_t)mode_data->mode;

        if (current_game_mode == GAME_MODE_CHALLENGE) {
          // Start challenge mode
          if (Challenge_Start() == CHALLENGE_OK) {
            DEBUG_INFO("[MODE] Challenge mode started\r\n");
            Protocol_SendAck(cmd, 0);  // Success
          } else {
            Protocol_SendAck(cmd, 2);  // Challenge start failed
          }
        } else if (current_game_mode == GAME_MODE_NORMAL) {
          // End challenge mode if active
          if (Challenge_GetState() != CHALLENGE_STATE_INACTIVE) {
            Challenge_End();
          }
          DEBUG_INFO("[MODE] Normal mode selected\r\n");
          Protocol_SendAck(cmd, 0);  // Success
        } else if (current_game_mode == GAME_MODE_TIMED) {
          // Timed mode not yet implemented
          DEBUG_INFO("[MODE] Timed mode not yet implemented\r\n");
          Protocol_SendAck(cmd, 1);  // Not implemented
        } else {
          Protocol_SendAck(cmd, 3);  // Invalid mode
        }
      } else {
        Protocol_SendAck(cmd, 4);  // Invalid length
      }
      break;

    case CMD_TIMER_UPDATE:
      /* Handle timer update from PC (timed mode) */
      if (len >= 2) {
        // Extract remaining time (2 bytes, big-endian)
        uint16_t remaining_time = (data[0] << 8) | data[1];

        // Optional: Display time on LED matrix if needed
        // For now, just acknowledge receipt
        DEBUG_INFO("[TIMER] Remaining: %d seconds\r\n", remaining_time);
        (void)remaining_time;  // Avoid unused variable warning when DEBUG is disabled
        Protocol_SendAck(cmd, 0);  // Success
      } else {
        Protocol_SendAck(cmd, 1);  // Invalid length
      }
      break;

    case CMD_CHEAT_TOGGLE:
      /* Handle cheat mode toggle (overlay state) */
      if (len == sizeof(Cheat_Toggle_Data_t)) {
        Cheat_Toggle_Data_t* cheat_data = (Cheat_Toggle_Data_t*)data;

        // === 详细日志：接收到的数据 ===
        DEBUG_INFO("[CHEAT] Received toggle command: len=%d, enable=%d, color=%d\r\n",
                   len, cheat_data->enable, cheat_data->selected_color);

        // Validate color (must be 1=BLACK or 2=WHITE)
        if (cheat_data->selected_color != PIECE_BLACK &&
            cheat_data->selected_color != PIECE_WHITE) {
          DEBUG_ERROR("[CHEAT] ❌ Invalid color: %d (expected 1=BLACK or 2=WHITE)\r\n",
                      cheat_data->selected_color);
          DEBUG_ERROR("[CHEAT] Raw data bytes: enable=0x%02X, color=0x%02X\r\n",
                      cheat_data->enable, cheat_data->selected_color);
          Protocol_SendAck(cmd, 1);  // Invalid parameter
          break;
        }

        // Update cheat overlay state
        bool prev_state = is_cheat_active;
        is_cheat_active = (cheat_data->enable != 0);
        cheat_selected_color = (PieceType_t)cheat_data->selected_color;

        DEBUG_INFO("[CHEAT] Toggle: %s, Color: %s\r\n",
                   is_cheat_active ? "ENABLED" : "DISABLED",
                   cheat_selected_color == PIECE_BLACK ? "BLACK" : "WHITE");

        App_DisplayGameBoard();
        Protocol_SendAck(cmd, 0);  // Success

        // Send updated game state to PC
        Send_GameState_Via_Protocol(&game_state);

      } else {
        Protocol_SendAck(cmd, 1);  // Invalid length
      }
      break;

    case CMD_CHEAT_COLOR_SELECT:
      /* [DEPRECATED] Handle old cheat color select command for backward compatibility */
      DEBUG_INFO("[CHEAT] Received deprecated CMD_CHEAT_COLOR_SELECT, ignoring\r\n");
      Protocol_SendAck(cmd, 255);  // Deprecated command
      break;

    default:
      /* Unknown command */
      Protocol_SendError(1, (uint8_t*)&cmd, 1);
      break;
  }
}

/**
 * @brief HAL UART Receive Complete Callback
 * @param huart UART handle
 * @retval None
 */
void HAL_UART_RxCpltCallback(UART_HandleTypeDef *huart)
{
  /* Call protocol RX callback */
  Protocol_UART_RxCallback(huart);
}

/* USER CODE END 4 */

void Error_Handler(void)
{
  __disable_irq();
  while (1)
  {
  }
}
